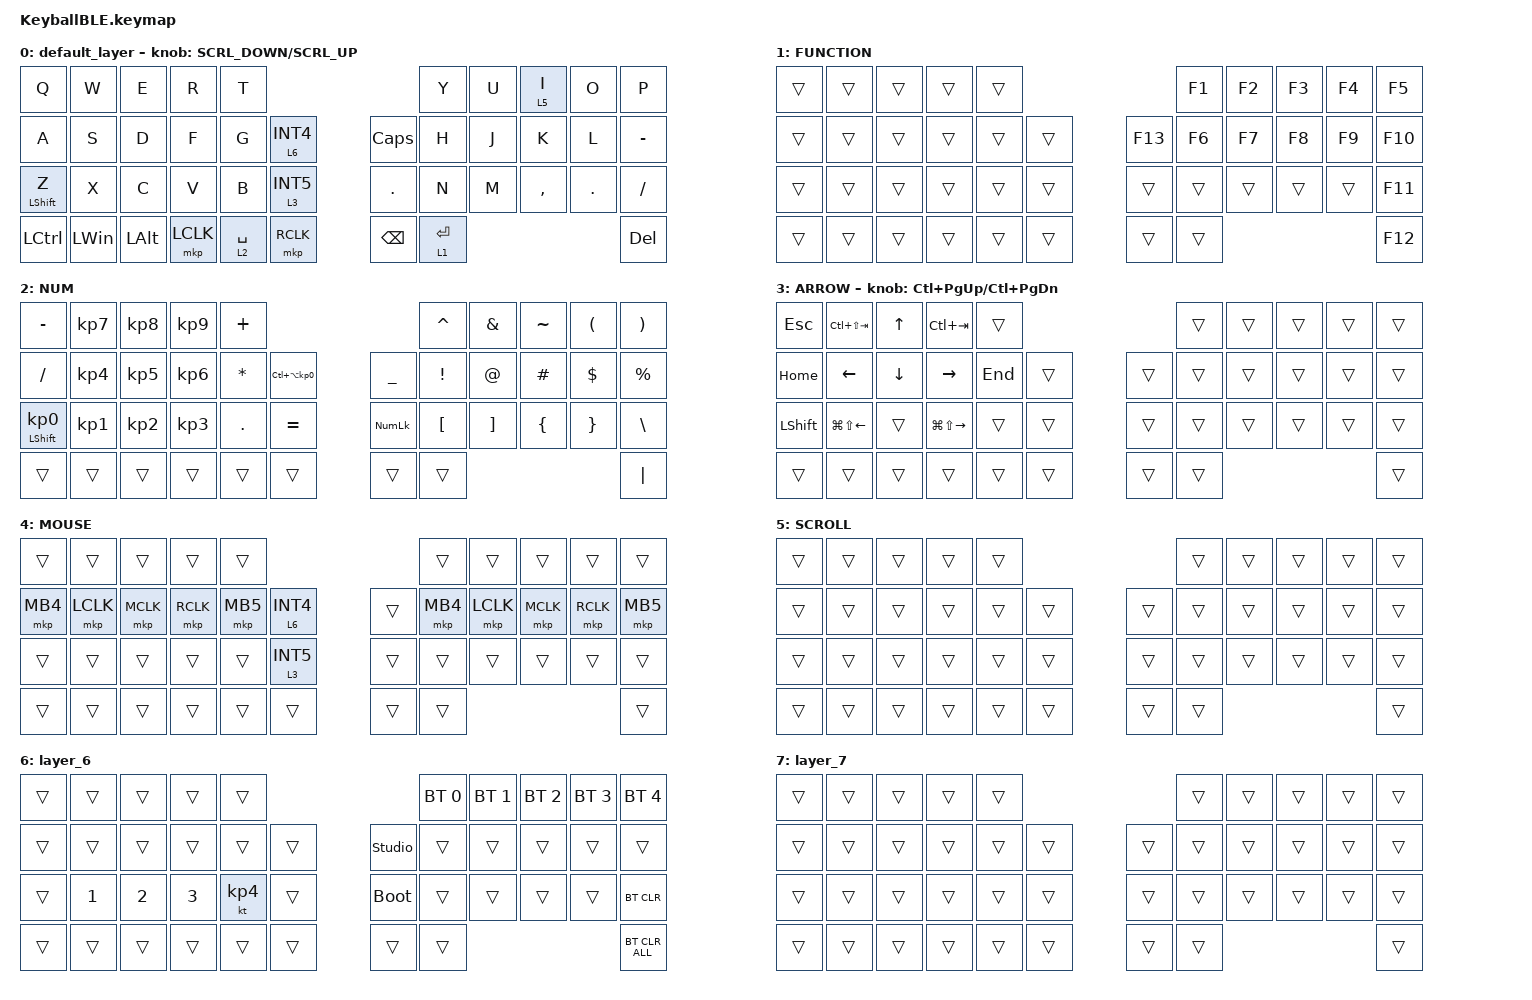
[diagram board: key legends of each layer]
#define ZMK_POINTING_DEFAULT_SCRL_VAL 120    // default: 10

#include <behaviors.dtsi>
#include <dt-bindings/zmk/bt.h>
#include <dt-bindings/zmk/keys.h>
#include <dt-bindings/zmk/pointing.h>

#define MOUSE 4
#define SCROLL 5
#define NUM 6

&mt {
    flavor = "balanced";
    quick-tap-ms = <0>;
};

/ {
    combos {
        compatible = "zmk,combos";

        double_quotation {
            bindings = <&kp DOUBLE_QUOTES>;
            key-positions = <20 21>;
        };
    };

    macros {
        to_layer_0: to_layer_0 {
            compatible = "zmk,behavior-macro-one-param";
            #binding-cells = <1>;
            bindings = <&to 0 &macro_param_1to1 &kp MACRO_PLACEHOLDER>;
            label = "TO_LAYER_0";
        };
    };

    behaviors {
        lt_to_layer_0: lt_to_layer_0 {
            compatible = "zmk,behavior-hold-tap";
            label = "LAYER_TAP_TO_0";
            bindings = <&mo>, <&to_layer_0>;

            #binding-cells = <2>;
            tapping-term-ms = <200>;
        };

        ROTATE: ROTATE {
            compatible = "zmk,behavior-sensor-rotate-var";
            label = "ROTATE";
            #sensor-binding-cells = <2>;
            bindings = <&msc>, <&msc>;

            tap-ms = <20>;
        };
    };

    keymap {
        compatible = "zmk,keymap";

        default_layer {
            bindings = <
&kp Q             &kp W         &kp E         &kp R      &kp T                                                  &kp Y        &kp U  &lt 5 I    &kp O       &kp P
&kp A             &kp S         &kp D         &kp F      &kp G        &lt_to_layer_0 6 INT4      &kp CAPS       &kp H        &kp J  &kp K      &kp L       &kp MINUS
&mt LEFT_SHIFT Z  &kp X         &kp C         &kp V      &kp B        &lt_to_layer_0 3 INT5      &kp PERIOD     &kp N        &kp M  &kp COMMA  &kp PERIOD  &kp SLASH
&kp LCTRL         &kp LEFT_WIN  &kp LEFT_ALT  &mkp LCLK  &lt 2 SPACE  &mkp RCLK                  &kp BACKSPACE  &lt 1 ENTER                                &kp DEL
            >;

            sensor-bindings = <&ROTATE SCRL_DOWN SCRL_UP>;
        };

        FUNCTION {
            bindings = <
&trans  &trans  &trans  &trans  &trans                       &kp F1  &kp F2  &kp F3  &kp F4  &kp F5
&trans  &trans  &trans  &trans  &trans  &trans      &kp F13  &kp F6  &kp F7  &kp F8  &kp F9  &kp F10
&trans  &trans  &trans  &trans  &trans  &trans      &trans   &trans  &trans  &trans  &trans  &kp F11
&trans  &trans  &trans  &trans  &trans  &trans      &trans   &trans                          &kp F12
            >;
        };

        NUM {
            bindings = <
&kp MINUS                   &kp KP_NUMBER_7  &kp KP_NUMBER_8  &kp KP_NUMBER_9  &kp PLUS                                                   &kp CARET         &kp AMPERSAND      &kp TILDE       &kp LEFT_PARENTHESIS  &kp RIGHT_PARENTHESIS
&kp SLASH                   &kp KP_NUMBER_4  &kp KP_NUMBER_5  &kp KP_NUMBER_6  &kp ASTERISK  &kp LC(LA(KP_NUMBER_0))      &kp UNDERSCORE  &kp EXCLAMATION   &kp AT_SIGN        &kp HASH        &kp DOLLAR            &kp PERCENT
&mt LEFT_SHIFT KP_NUMBER_0  &kp KP_NUMBER_1  &kp KP_NUMBER_2  &kp KP_NUMBER_3  &kp PERIOD    &kp EQUAL                    &kp KP_NUMLOCK  &kp LEFT_BRACKET  &kp RIGHT_BRACKET  &kp LEFT_BRACE  &kp RIGHT_BRACE       &kp BACKSLASH
&trans                      &trans           &trans           &trans           &trans        &trans                       &trans          &trans                                                                     &kp PIPE
            >;
        };

        ARROW {
            bindings = <
&kp ESCAPE      &kp LC(LS(TAB))         &kp UP_ARROW    &kp LC(TAB)              &trans                       &trans  &trans  &trans  &trans  &trans
&kp HOME        &kp LEFT_ARROW          &kp DOWN_ARROW  &kp RIGHT_ARROW          &kp END  &trans      &trans  &trans  &trans  &trans  &trans  &trans
&kp LEFT_SHIFT  &kp LG(LS(LEFT_ARROW))  &trans          &kp LG(LS(RIGHT_ARROW))  &trans   &trans      &trans  &trans  &trans  &trans  &trans  &trans
&trans          &trans                  &trans          &trans                   &trans   &trans      &trans  &trans                          &trans
            >;

            sensor-bindings = <&inc_dec_kp LC(PAGE_UP) LC(PAGE_DOWN)>;
        };

        MOUSE {
            bindings = <
&trans    &trans     &trans     &trans     &trans                                       &trans    &trans     &trans     &trans     &trans
&mkp MB4  &mkp LCLK  &mkp MCLK  &mkp RCLK  &mkp MB5  &lt_to_layer_0 6 INT4      &trans  &mkp MB4  &mkp LCLK  &mkp MCLK  &mkp RCLK  &mkp MB5
&trans    &trans     &trans     &trans     &trans    &lt_to_layer_0 3 INT5      &trans  &trans    &trans     &trans     &trans     &trans
&trans    &trans     &trans     &trans     &trans    &trans                     &trans  &trans                                     &trans
            >;
        };

        SCROLL {
            bindings = <
&trans  &trans  &trans  &trans  &trans                      &trans  &trans  &trans  &trans  &trans
&trans  &trans  &trans  &trans  &trans  &trans      &trans  &trans  &trans  &trans  &trans  &trans
&trans  &trans  &trans  &trans  &trans  &trans      &trans  &trans  &trans  &trans  &trans  &trans
&trans  &trans  &trans  &trans  &trans  &trans      &trans  &trans                          &trans
            >;
        };

        layer_6 {
            bindings = <
&trans  &trans        &trans        &trans        &trans                                 &bt BT_SEL 0  &bt BT_SEL 1  &bt BT_SEL 2  &bt BT_SEL 3  &bt BT_SEL 4
&trans  &trans        &trans        &trans        &trans     &trans      &studio_unlock  &trans        &trans        &trans        &trans        &trans
&trans  &kp NUMBER_1  &kp NUMBER_2  &kp NUMBER_3  &kt KP_N4  &trans      &bootloader     &trans        &trans        &trans        &trans        &bt BT_CLR
&trans  &trans        &trans        &trans        &trans     &trans      &trans          &trans                                                  &bt BT_CLR_ALL
            >;
        };

        layer_7 {
            bindings = <
&trans  &trans  &trans  &trans  &trans                      &trans  &trans  &trans  &trans  &trans
&trans  &trans  &trans  &trans  &trans  &trans      &trans  &trans  &trans  &trans  &trans  &trans
&trans  &trans  &trans  &trans  &trans  &trans      &trans  &trans  &trans  &trans  &trans  &trans
&trans  &trans  &trans  &trans  &trans  &trans      &trans  &trans                          &trans
            >;
        };
    };
};
